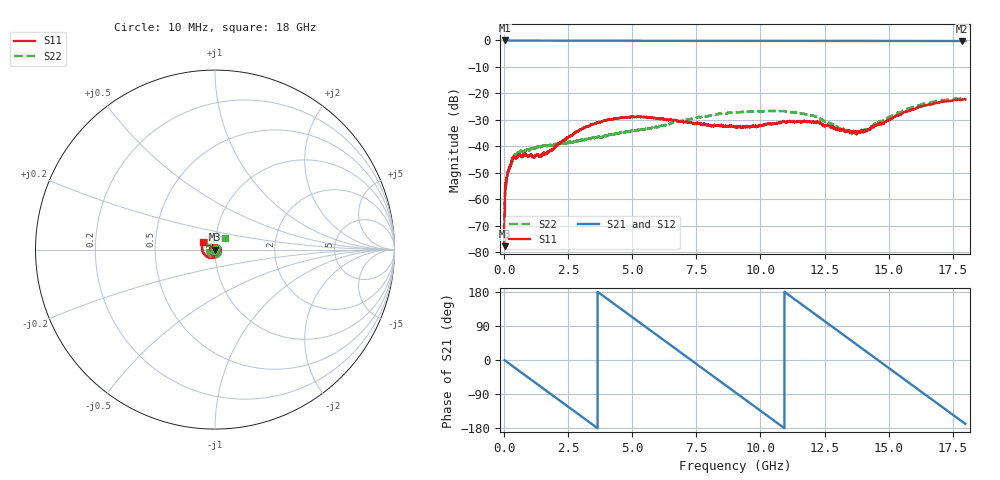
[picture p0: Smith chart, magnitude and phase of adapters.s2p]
!Keysight Technologies,N5242B,US61255121,A.15.50.07
!Date: Wednesday, October 01, 2025 14:34:56
!Correction: S11(C  2-Port  )
!S21(C  2-Port  )
!S12(C  2-Port  )
!S22(C  2-Port  )
!S2P File: Measurements: S11, S21, S12, S22:
# Hz S  dB  R 50
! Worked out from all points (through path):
!   10001 points, 10 MHz to 18 GHz, reference 50 ohm
!   highest |S21| = 0.00 dB at 11.8 MHz (marker M1); lowest = -0.2 dB at 17.86 GHz (marker M2)
!   group delay of S21, straight-line fit = 137 ps
!   lowest |S11| = -77.8 dB at 11.8 MHz (marker M3), VSWR 1.00, Z = 50 + j0.00867 ohm
!   |S11| at or under -10 dB: start of sweep to end of sweep
!   |S22| runs from -71.2 to -21.8 dB; largest |S21 - S12| = 0.003
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1e7  -69.64 -101.8  -0.01 -0.5  -0.00 -0.5  -64.45 15.2
1.1799e7  -77.79 42.2  -0.00 -0.6  -0.00 -0.6  -71.18 22.5
1.14342e8  -51.12 50.3  -0.02 -5.8  -0.01 -5.8  -51.21 49.7
3.53609e8  -44.25 40.3  -0.03 -17.7  -0.03 -17.7  -44.50 35.4
1.708256e9  -42.31 37.2  -0.07 -84.6  -0.07 -84.6  -39.71 -60.0
3.008933e9  -33.59 24.4  -0.09 -148.9  -0.09 -148.9  -37.75 -151.9
4.253841e9  -29.80 -28.6  -0.11 149.7  -0.11 149.7  -35.64 136.2
5.160537e9  -29.02 -72.5  -0.12 104.9  -0.12 105.0  -33.91 92.7
6.007866e9  -29.55 -118.1  -0.13 63.1  -0.12 63.1  -32.71 62.2
6.765245e9  -30.40 -162.6  -0.13 25.7  -0.13 25.8  -30.74 34.2
7.448865e9  -31.30 157.6  -0.14 -8.0  -0.14 -8.0  -29.36 3.2
9.005e9  -32.80 82.7  -0.15 -84.8  -0.15 -84.7  -27.26 -81.7
9.747987e9  -32.58 58.3  -0.15 -121.5  -0.15 -121.4  -26.80 -124.9
1.06169e10  -31.30 31.2  -0.16 -164.4  -0.16 -164.3  -26.70 -176.3
1.128793e10  -30.40 7.4  -0.16 162.5  -0.16 162.6  -27.10 142.4
1.200393e10  -30.91 -21.9  -0.17 127.2  -0.17 127.3  -28.45 98.7
1.329382e10  -34.14 -62.5  -0.17 63.6  -0.17 63.6  -33.96 5.7
1.418612e10  -33.65 -61.5  -0.18 19.5  -0.18 19.6  -33.87 -92.6
1.500287e10  -30.33 -73.5  -0.19 -20.8  -0.19 -20.7  -28.95 -159.4
1.642408e10  -24.54 -138.5  -0.21 -91.0  -0.21 -90.9  -23.84 128.5
1.786328e10  -22.39 151.1  -0.23 -161.9  -0.22 -161.8  -21.97 57.9
1.8e10  -22.31 146.6  -0.23 -168.7  -0.22 -168.6  -21.77 49.1
